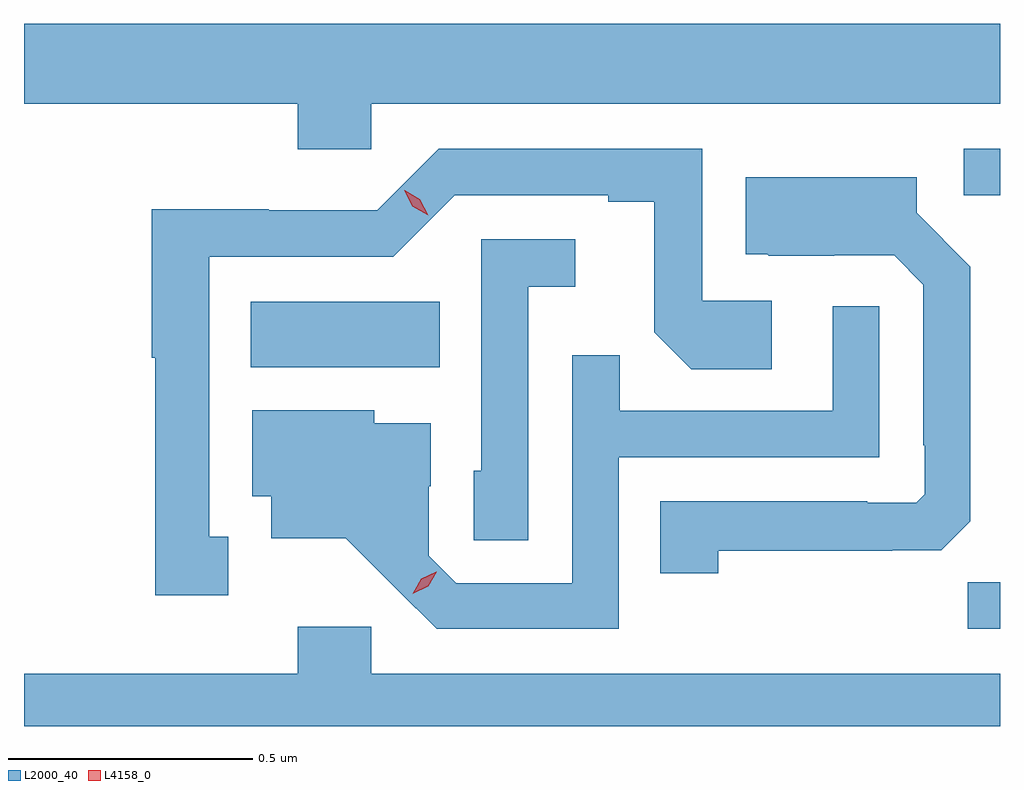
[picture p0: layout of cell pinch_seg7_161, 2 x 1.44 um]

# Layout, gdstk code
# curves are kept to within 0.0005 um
import gdstk
lib = gdstk.Library(unit=1e-6, precision=1e-09)
def R(c, l, rs):  # rectangles x0, y0, x1, y1
    for r in rs: c.add(gdstk.rectangle(r[:2], r[2:], *l))
def P(c, l, *ps):  # polygons
    for p in ps: c.add(gdstk.Polygon(p, *l))
L2000_40 = (2000, 40)
L4158_0 = (4158, 0)

pinch_seg7_161 = lib.new_cell('pinch_seg7_161')
R(pinch_seg7_161, L2000_40, [(1045.486,1026.18,1045.552,1026.275), (1044.017,1026.716,1044.404,1026.85), (1045.478,1027.068,1045.552,1027.164)])
P(pinch_seg7_161, L2000_40, [(1044.264,1027.256),(1045.552,1027.256),(1045.552,1027.42),(1043.552,1027.42),(1043.552,1027.256),(1044.113,1027.256),(1044.113,1027.163),(1044.264,1027.163)],
  [(1043.971,1026.369),(1043.932,1026.369),(1043.932,1026.942),(1044.309,1026.942),(1044.435,1027.068),(1044.749,1027.068),(1044.749,1027.055),(1044.843,1027.055),(1044.843,1026.788),(1044.919,1026.712),(1045.084,1026.712),(1045.084,1026.852),(1044.942,1026.852),(1044.942,1027.164),(1044.402,1027.164),(1044.276,1027.038),(1044.054,1027.038),(1044.054,1027.04),(1043.814,1027.04),(1043.814,1026.735),(1043.821,1026.735),(1043.821,1026.249),(1043.971,1026.249)],
  [(1044.975,1026.34),(1045.331,1026.34),(1045.331,1026.341),(1045.432,1026.341),(1045.491,1026.4),(1045.491,1026.922),(1045.381,1027.032),(1045.381,1027.105),(1045.031,1027.105),(1045.031,1026.947),(1045.075,1026.947),(1045.078,1026.944),(1045.212,1026.944),(1045.212,1026.945),(1045.335,1026.945),(1045.395,1026.885),(1045.395,1026.556),(1045.398,1026.556),(1045.398,1026.456),(1045.38,1026.438),(1045.28,1026.438),(1045.28,1026.441),(1044.856,1026.441),(1044.856,1026.294),(1044.975,1026.294)],
  [(1044.585,1026.881),(1044.682,1026.881),(1044.682,1026.978),(1044.489,1026.978),(1044.489,1026.504),(1044.474,1026.504),(1044.474,1026.361),(1044.585,1026.361)],
  [(1044.771,1026.531),(1045.305,1026.531),(1045.305,1026.841),(1045.209,1026.841),(1045.209,1026.627),(1044.773,1026.627),(1044.773,1026.74),(1044.675,1026.74),(1044.675,1026.273),(1044.438,1026.273),(1044.381,1026.33),(1044.381,1026.472),(1044.385,1026.472),(1044.385,1026.601),(1044.27,1026.601),(1044.27,1026.628),(1044.02,1026.628),(1044.02,1026.452),(1044.059,1026.452),(1044.059,1026.365),(1044.211,1026.365),(1044.398,1026.18),(1044.771,1026.18)],
  [(1045.552,1026.088),(1044.264,1026.088),(1044.264,1026.184),(1044.113,1026.184),(1044.113,1026.088),(1043.552,1026.088),(1043.552,1025.98),(1045.552,1025.98)])
P(pinch_seg7_161, L4158_0, [(1044.38,1027.027),(1044.348,1027.046),(1044.331,1027.079),(1044.331,1027.079),(1044.332,1027.079),(1044.363,1027.06),(1044.38,1027.027),(1044.38,1027.027)],
  [(1044.349,1026.252),(1044.349,1026.252),(1044.366,1026.282),(1044.397,1026.297),(1044.398,1026.297),(1044.398,1026.297),(1044.38,1026.267),(1044.349,1026.252)])

lib.write_gds('pinch_seg7_161.gds')
